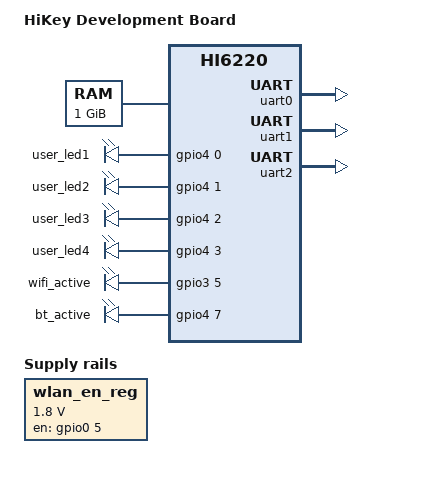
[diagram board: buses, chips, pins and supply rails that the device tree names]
/*
 * dts file for Hisilicon HiKey Development Board
 *
 * Copyright (C) 2014, Hisilicon Ltd.
 *
 */

/dts-v1/;

/memreserve/ 0x00000000 0x07400000;
/memreserve/ 0x0740f000 0x1000;

#include "hikey-pinctrl.dtsi"
#include "hikey-gpio.dtsi"
#include "hi6220.dtsi"

/ {
	model = "HiKey Development Board";
	compatible = "hisilicon,hikey", "hisilicon,hi6220";
	hisi,boardid = <0 0 4 3>;
	#address-cells = <2>;
	#size-cells = <2>;
	interrupt-parent = <&gic>;

	aliases {
		serial0 = &uart0;
		serial1 = &uart1;
		serial2 = &uart2;
		mshc0 = &dwmmc_0;
		mshc1 = &dwmmc_1;
		mshc2 = &dwmmc_2;
	};

	chosen {
		linux,initrd-start = <0x0 0x0ae00000>;
		linux,initrd-end = <0x0 0x0b600000>;
	};

	memory {
		device_type = "memory";
		reg = <0x0 0x00000000 0x0 0x40000000>;
	};

	smb {
		uart0: uart@f8015000 {	/* console */
			status = "ok";
		};

		uart1: uart@f7111000 {
			pinctrl-names = "default";
			pinctrl-0 = <&uart1_pmx_func
				     &uart1_cfg_func1 &uart1_cfg_func2>;
			status = "ok";
		};

		uart2: uart@f7112000 {
			pinctrl-names = "default";
			pinctrl-0 = <&uart2_pmx_func &uart2_cfg_func>;
			status = "ok";
		};
	};

	dwmmc_0: dwmmc0@f723d000 {
		bus-width = <0x8>;
		vmmc-supply = <&ldo19>;
		pinctrl-names = "default";
		pinctrl-0 = <&emmc_pmx_func &emmc_clk_cfg_func
			     &emmc_cfg_func &emmc_rst_cfg_func>;
	};

	dwmmc_1: dwmmc1@f723e000 {
		bus-width = <0x4>;
		disable-wp;
		cd-gpios = <&gpio1 0 1>;
		pinctrl-names = "default", "idle";
		pinctrl-0 = <&sd_pmx_func &sd_clk_cfg_func &sd_cfg_func>;
		pinctrl-1 = <&sd_pmx_idle &sd_clk_cfg_idle &sd_cfg_idle>;
	};

	dwmmc_2: dwmmc2@f723f000 {
		bus-width = <0x4>;
		broken-cd;
		non-removable;
		/* WL_EN */
		vmmc-supply = <&wlan_en_reg>;
		pinctrl-names = "default", "idle";
		pinctrl-0 = <&sdio_pmx_func &sdio_clk_cfg_func &sdio_cfg_func>;
		pinctrl-1 = <&sdio_pmx_idle &sdio_clk_cfg_idle &sdio_cfg_idle>;
	};

	wlcore {
		compatible = "wlcore";
		/*
		 * FIXME: The following is complete CRAP since
		 * the vendor driver doesn't follow the gpio
		 * binding. Passing in a magic Linux gpio number
		 * here until we fix the vendor driver.
		 */

		/* WL_IRQ, WL_HOST_WAKE_GPIO1_3 */
		gpio = <499>;
		/* Use edge irqs for suspend/resume */
		platform-quirks = <1>;
		/* WL12XX_REFCLOCK_38_XTAL */
		board-ref-clock = <4>;
	};

	kim {
		compatible = "kim";
		pinctrl-names = "default";
		pinctrl-0 = <>; /* FIXME: add BT PCM pinctrl here */
		/*
		 * FIXME: The following is complete CRAP since
		 * the vendor driver doesn't follow the gpio
		 * binding. Passing in a magic Linux gpio number
		 * here until we fix the vendor driver.
		 */
		/* BT_EN: BT_REG_ON_GPIO1_7 */
		nshutdown_gpio = <503>;
		dev_name = "/dev/ttyAMA1";
		flow_cntrl = <1>;
		baud_rate = <3000000>;
	};

	btwilink {
		compatible = "btwilink";
	};

	leds {
		compatible = "gpio-leds";
		user_led1 {
			label = "user_led1";
			gpios = <&gpio4 0 0>; /* <&gpio_user_led_1>; */
			linux,default-trigger = "heartbeat";
		};

		user_led2 {
			label = "user_led2";
			gpios = <&gpio4 1 0>; /* <&gpio_user_led_2>; */
			linux,default-trigger = "mmc0";
		};

		user_led3 {
			label = "user_led3";
			gpios = <&gpio4 2 0>; /* <&gpio_user_led_3>; */
			linux,default-trigger = "mmc1";
		};

		user_led4 {
			label = "user_led4";
			gpios = <&gpio4 3 0>; /* <&gpio_user_led_4>; */
			linux,default-trigger = "cpu0";
		};

		wlan_active_led {
			label = "wifi_active";
			gpios = <&gpio3 5 0>; /* <&gpio_wlan_active_led>; */
			linux,default-trigger = "phy0tx";
			default-state = "off";
		};

		bt_active_led {
			label = "bt_active";
			gpios = <&gpio4 7 0>; /* <&gpio_bt_active_led>; */
			linux,default-trigger = "hci0tx";
			default-state = "off";
		};

	};

	/* power control mechanism for WLAN_EN */
	wlan_en_reg: fixedregulator@1 {
		compatible = "regulator-fixed";
		regulator-name = "wlan-en-regulator";
		regulator-min-microvolt = <1800000>;
		regulator-max-microvolt = <1800000>;

		/* WLAN_EN GPIO for this board - GPIO_0_5 */
		gpio = <&gpio0 5 0>;

		/* WLAN card specific delay */
		startup-delay-us = <70000>;
		enable-active-high;

		/* temp solution */
		regulator-always-on;
	};
};
